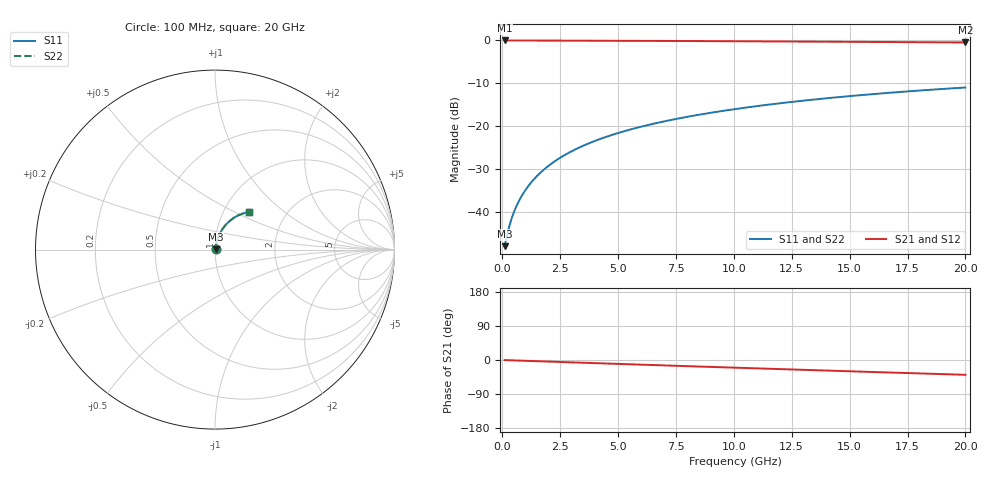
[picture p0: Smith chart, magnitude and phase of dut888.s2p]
! Touchstone file exported from HFSS 2026.1.0
!  File:  C:/ffzhzh/LocalFiles/Ansys_Project_Files/temp_train_TMRDL_888_1783157598_51560.aedt
!  Generated:  05:34:25 PM Jul  4, 2026
!  Design:  TMRDL
!  Project:  temp_train_TMRDL_888_1783157598_51560
! Variables:
!  h_bsmrdl = 2um
!  h_ox = 20um
!  h_rdl = 5um
!  h_sub = 80um
!  h_tmrdl = 4.67um
!  h_tsv = 80um
!  h_via = 3um
!  l_bsmrdl = 300um
!  l_sub = 1035.92um
!  l_tmrdl = 635.92um
!  m_sub = 200um
!  pitch = 27.97um
!  r_tsv = 6um
!  s_tmrdl = 10um
!  w_bsmrdl = 18um
!  w_sub = 500um
!  w_tmrdl = 14.2um
!  x_tsv_center1 = 643.02um
!  x_tsv_center2 = 961.02um
!  x_tsv_center3 = 1611.14um
!  x_tsv_center4 = 1929.14um
!  x_tsv_center5 = 2579.26um
!  x_tsv_center6 = 2897.26um
# GHz S MA R 50.000000
! Terminal data exported
! Port[1] = TM_RDL1_1_T1
! Port[2] = TM_RDL1_1_T2
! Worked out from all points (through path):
!   200 points, 100 MHz to 20 GHz, reference 50 ohm
!   highest |S21| = -0.03 dB at 100 MHz (marker M1); lowest = -0.5 dB at 20 GHz (marker M2)
!   group delay of S21, straight-line fit = 5.41 ps
!   lowest |S11| = -48.0 dB at 100 MHz (marker M3), VSWR 1.01, Z = 50.4 + j0.195 ohm
!   |S11| at or under -10 dB: start of sweep to end of sweep
!   |S22| runs from -48.0 to -11.0 dB; largest |S21 - S12| = 3.1e-15
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0.1  0.004002 28.9  0.9965 -0.2  0.9965 -0.2  0.004002 28.9
! Gamma 0 0 0 0
! Port Impedance 50 0 50 0
0.2  0.005281 46.0  0.9963 -0.4  0.9963 -0.4  0.005281 46.0
0.3  0.006795 55.3  0.9962 -0.7  0.9962 -0.7  0.006795 55.3
0.4  0.008367 60.9  0.996 -0.9  0.996 -0.9  0.008368 60.9
0.5  0.009954 64.7  0.9959 -1.1  0.9959 -1.1  0.009956 64.7
0.6  0.01155 67.4  0.9958 -1.3  0.9958 -1.3  0.01155 67.4
0.8  0.01478 71.1  0.9956 -1.7  0.9956 -1.7  0.01478 71.1
1  0.01804 73.5  0.9954 -2.1  0.9954 -2.1  0.01804 73.5
1.2  0.02133 75.0  0.9953 -2.5  0.9953 -2.5  0.02133 75.0
1.4  0.02464 76.0  0.9951 -2.9  0.9951 -2.9  0.02464 76.0
1.7  0.02963 76.9  0.9948 -3.6  0.9948 -3.6  0.02963 76.9
2.2  0.03793 77.5  0.9942 -4.6  0.9942 -4.6  0.03793 77.5
2.8  0.04785 77.4  0.9933 -5.8  0.9933 -5.8  0.04785 77.4
3.5  0.05929 76.7  0.9921 -7.3  0.9921 -7.3  0.05929 76.7
4.2  0.07056 75.7  0.9907 -8.7  0.9907 -8.7  0.07056 75.7
5  0.08322 74.5  0.989 -10.3  0.989 -10.3  0.08323 74.5
6.8  0.1109 71.4  0.9847 -13.9  0.9847 -13.9  0.1109 71.4
8.3  0.1331 68.7  0.9808 -16.9  0.9808 -16.9  0.1331 68.7
10.1  0.1588 65.5  0.9759 -20.4  0.9759 -20.4  0.1588 65.5
13.4  0.2035 59.6  0.966 -26.7  0.966 -26.7  0.2035 59.6
16.7  0.2448 53.8  0.9554 -33.0  0.9554 -33.0  0.2448 53.7
20  0.2822 48.0  0.9443 -39.1  0.9443 -39.1  0.2822 47.9
